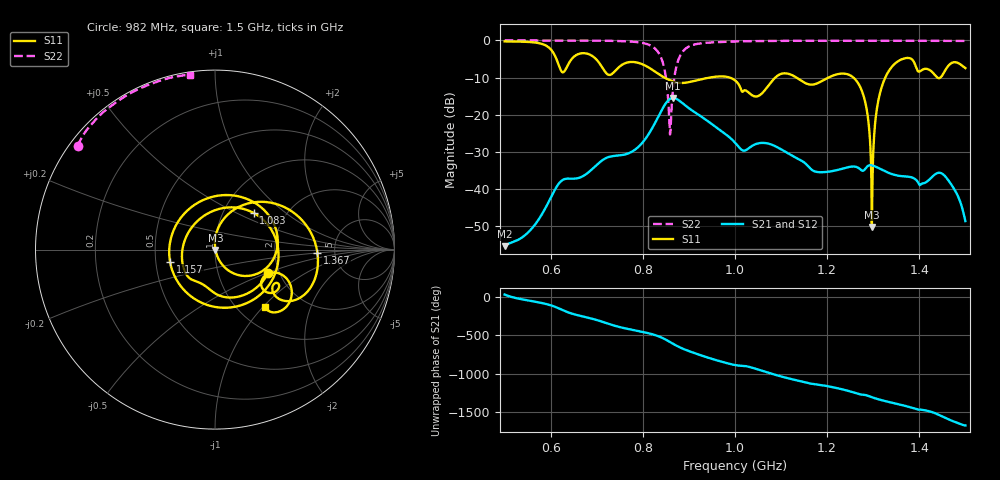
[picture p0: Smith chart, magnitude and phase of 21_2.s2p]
! TOUCHSTONE file generated by CST MICROWAVE STUDIO
! Date and time: Thu Feb 11 19:33:35 2021
! Project name: Scenario_1_Planar_Body_Tissue_Out_of_Line.cst
! Parameters = {L_HA=400; Ltissue=1000; MT=2.54; Rad_Dielectric=30; Rad_Lower=7.3; Rad_Upper=30; Wtissue=1000; a_HA=580; a_WG=246; b_HA=500; b_WG=121; c_HA=0; c_WG=187; d_feed=85; dx1=346; dy1=0; h_feed=15; h_lower=18; h_upper=40; hfat=3; hgap=25; hmuscle=50; hskin=1.5}
! Header version: 2018
! Port assignment regex: !\s*Touchstone port\s*([0-9]+)\s*=\s*(CST MWS port|CST DS port)\s*([0-9]+|Zmin|Zmax)\s*\(\"(.*)\"\)(\s*mode\s*([0-9]+))?.*
! Touchstone port assignment:
! Touchstone port 1 = CST MWS port 1 ("")
! Touchstone port 2 = CST MWS port 2 ("")
# GHz S DB R 50
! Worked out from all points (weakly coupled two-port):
!   1003 points, 500 MHz to 1.5 GHz, reference 50 ohm
!   highest |S21| = -15.49 dB at 866 MHz (marker M1); lowest = -55.4 dB at 500 MHz (marker M2)
!   lowest |S11| = -50.2 dB at 1.297 GHz (marker M3), VSWR 1.01, Z = 50.3 - j0.174 ohm
!   |S11| at or under -10 dB: 846.5 MHz to 945.3 MHz (98.75 MHz wide, 11 % of centre); 988.4 MHz to 1.087 GHz (99.04 MHz wide, 9.54 % of centre); 1.257 GHz to 1.326 GHz (69.2 MHz wide, 5.36 % of centre) (the widest 3 of 5)
!   |S22| runs from -25.3 to 0.0 dB; largest |S21 - S12| = 0.00019
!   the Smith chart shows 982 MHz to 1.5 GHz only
!   S11 on the Smith chart (normalised r, x): 982 MHz: 1.75, -0.51; 1.083 GHz: 1.39, +0.62; 1.157 GHz: 0.59, -0.09; 1.367 GHz: 3.65, -0.21; 1.5 GHz: 1.32, -1.03
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0.5  -0.27 -121.5  -55.42 36.0  -55.42 36.0  -0.01 151.1
0.667  -3.46 155.0  -36.75 112.5  -36.75 112.5  -0.04 138.4
0.694  -4.52 100.8  -34.21 72.2  -34.21 72.2  -0.06 135.5
0.716  -8.06 22.4  -31.96 31.3  -31.96 31.3  -0.09 132.8
0.739  -8.33 -95.8  -31.10 -13.2  -31.10 -13.2  -0.14 129.4
0.767  -5.92 177.1  -30.50 -54.7  -30.50 -54.7  -0.26 123.9
0.799  -6.43 105.5  -27.55 -93.5  -27.55 -93.5  -0.67 113.3
0.834  -9.05 24.2  -20.41 -151.4  -20.41 -151.4  -3.31 85.4
0.858  -10.67 -43.3  -15.82 136.7  -15.82 136.7  -23.21 -2.5
0.866  -11.06 -69.1  -15.49 108.6  -15.49 108.6  -12.29 -135.9
0.932  -10.32 89.6  -20.96 -53.1  -20.96 -53.1  -0.70 153.3
0.982  -9.80 -23.9  -25.49 -142.8  -25.49 -142.8  -0.36 142.9
1  -10.76 -65.8  -27.53 -168.8  -27.53 -168.8  -0.28 140.3
1.083  -10.56 43.5  -28.24 71.1  -28.24 71.1  -0.13 131.3
1.157  -11.72 -165.0  -33.65 -43.9  -33.65 -43.9  -0.11 125.0
1.167  -11.92 163.2  -34.87 -54.1  -34.87 -54.1  -0.10 124.2
1.263  -10.79 -24.6  -34.06 -177.9  -34.04 -178.0  -0.08 116.9
1.297  -50.23 -34.3  -33.65 129.4  -33.65 129.4  -0.08 114.3
1.334  -8.19 42.9  -35.70 66.6  -35.70 66.6  -0.09 111.5
1.367  -4.86 -2.0  -36.62 19.6  -36.62 19.6  -0.09 109.0
1.451  -9.17 -21.5  -36.02 -127.9  -36.02 -127.9  -0.11 102.2
1.5  -7.46 -48.7  -48.67 119.2  -48.67 119.2  -0.13 98.0
